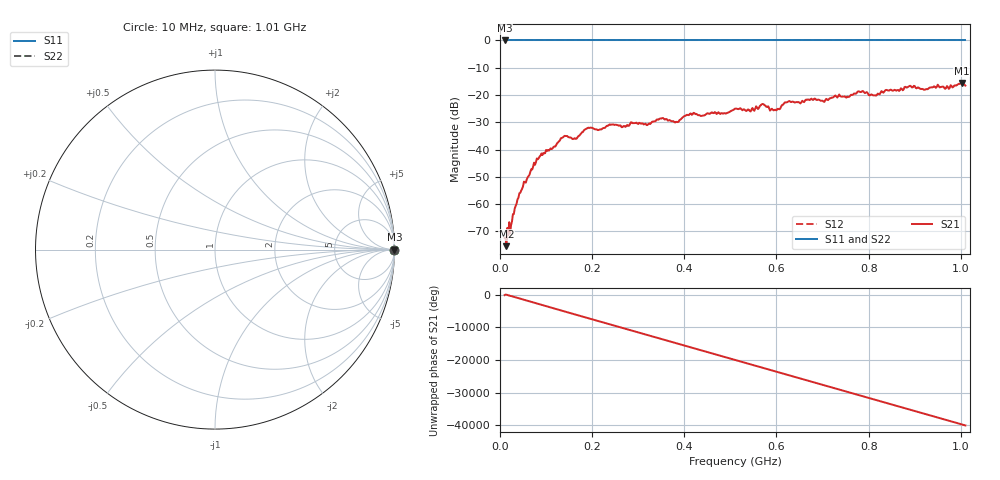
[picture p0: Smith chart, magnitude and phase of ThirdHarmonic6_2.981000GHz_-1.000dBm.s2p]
! 8/17/2025 8:28:11 AM
! C:\ANRITSUVNA\TEMP\TEMP.S2P
! CHANNEL.1
! TR.MEASUREMENT
! RAW.DATA
! RF.CORRECTION.OFF
! AVERAGING.OFF
! IF.BANDWIDTH: 5KHZ
! SWEEPTYPE:  FREQ.SWEEP(Linear)
! Reference Plane Port Info
! PORT:  PORT1  PORT2
! DISTANCE:  0  m  0  m
! TIME:  0  s  0  s
! PHASE.OFFSET:  0  deg.  0  deg.
! LOSS:  0  dB  0  dB
! REF.LOSS:  0  dB  0  dB
! REF.FREQ:  0  Hz  0  Hz
! Power Info
! POWER:  -20  dBm  -20  dBm
! EFF.POWER:  -20  dBm  -20  dBm
! SOURCE.ATTEN:  0  dB  0  dB
! TEST.ATTEN:  0  dB  0  dB
# GHZ S RI R 50.0
! FREQ.GHZ  S11RE  S11IM  S21RE  S21IM  S12RE  S12IM  S22RE  S22IM
!; PortSelection: Port_12
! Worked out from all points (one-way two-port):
!   501 points, 10 MHz to 1.01 GHz, reference 50 ohm
!   highest |S21| = -15.55 dB at 1.002 GHz (marker M1); lowest = -75.4 dB at 14 MHz (marker M2)
!   lowest |S11| = 0.0 dB at 10 MHz (marker M3)
!   |S11| at or under -10 dB: nowhere
!   |S22| runs from 0.0 to 0.0 dB; largest |S21 - S12| = 1.2
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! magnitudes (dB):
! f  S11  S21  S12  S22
! 10 MHz  0.0  -72.4  0.0  0.0
! 14 MHz  0.0  -75.4  0.0  0.0
! 42 MHz  0.0  -56.0  0.0  0.0
! 84 MHz  0.0  -43.2  0.0  0.0
! 136 MHz  0.0  -35.6  0.0  0.0
! 162 MHz  0.0  -35.9  0.0  0.0
! 178 MHz  0.0  -33.7  0.0  0.0
! 344 MHz  0.0  -29.1  0.0  0.0
! 384 MHz  0.0  -29.9  0.0  0.0
! 410 MHz  0.0  -27.4  0.0  0.0
! 510 MHz  0.0  -25.0  0.0  0.0
! 548 MHz  0.0  -24.8  0.0  0.0
! 570 MHz  0.0  -23.3  0.0  0.0
! 596 MHz  0.0  -25.4  0.0  0.0
! 624 MHz  0.0  -22.6  0.0  0.0
! 678 MHz  0.0  -21.8  0.0  0.0
! 702 MHz  0.0  -22.4  0.0  0.0
! 782 MHz  0.0  -18.9  0.0  0.0
! 814 MHz  0.0  -20.1  0.0  0.0
! 844 MHz  0.0  -18.4  0.0  0.0
! 1.002 GHz  0.0  -15.6  0.0  0.0
! 1.01 GHz  0.0  -16.6  0.0  0.0
